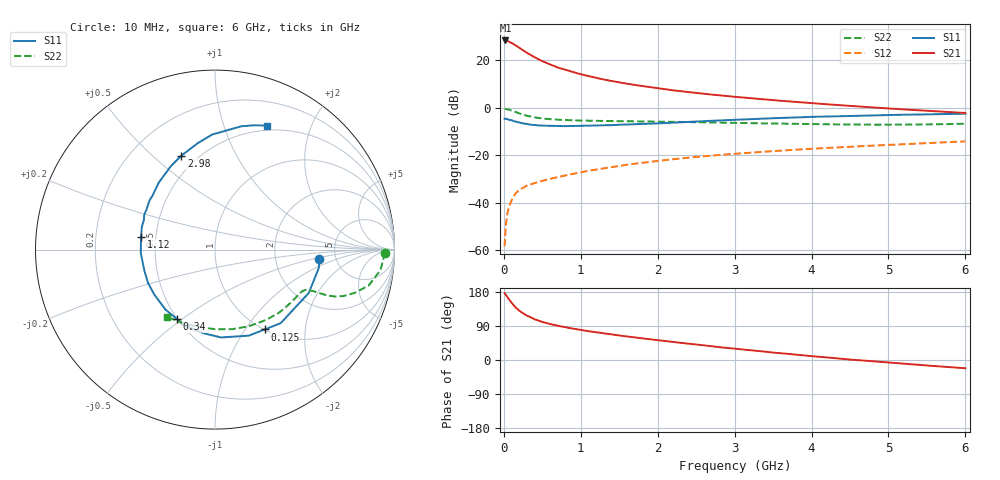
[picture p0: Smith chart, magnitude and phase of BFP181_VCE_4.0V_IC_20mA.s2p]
! Infineon Technologies  Discrete & RF Semiconductors
! BFP181
! VCE = 4.0 V,  IC =  20 mA
! Common Emitter S-Parameters:  Jan 2016
# GHz  S  MA  R  50
!  f  S11  S21  S12  S22
! GHz  MAG  ANG  MAG  ANG  MAG  ANG  MAG  ANG
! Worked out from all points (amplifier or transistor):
!   210 points, 10 MHz to 6 GHz, reference 50 ohm
!   highest |S21| = 28.4 dB at 20 MHz (marker M1)
!   |S21| within 3 dB of that: start of sweep to 197.7 MHz
!   unconditionally stable (mu >= 1): start of sweep to 12.35 MHz; 595.7 MHz to end of sweep
!   at 185 MHz: K = 0.47, MSG = 30.4 dB, |S12| = -35.1 dB
!   at 1.52 GHz: K = 1.32, MAG = 14.1 dB, |S12| = -24.5 dB
!   at 6 GHz: K = 1.05, MAG = 4.6 dB, |S12| = -14.2 dB
!   S11 on the Smith chart (normalised r, x): 10 MHz: 3.70, -0.59; 125 MHz: 1.01, -1.23; 340 MHz: 0.50, -0.48; 1.12 GHz: 0.41, +0.07; 2.98 GHz: 0.41, +0.62; 6 GHz: 0.45, +1.40
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0.01  0.5839 -5.2  26.26 176.6  0.0012 73.1  0.9461 -1.0
0.02  0.5873 -10.2  26.29 174.0  0.0024 87.2  0.9414 -2.6
0.05  0.5754 -24.9  25.63 164.7  0.0064 81.7  0.9284 -7.2
0.1  0.5495 -48.3  23.36 151.1  0.0111 66.6  0.879 -13.2
0.125  0.524 -58.1  22.02 145.5  0.0132 64.1  0.8465 -15.1
0.165  0.503 -73.6  20.14 136.7  0.0163 61.3  0.7986 -18.0
0.2  0.4907 -86.0  18.51 130.0  0.0184 59.4  0.7608 -19.9
0.24  0.4715 -96.6  16.67 124.3  0.02 57.0  0.7232 -21.2
0.3  0.4558 -111.3  14.43 117.0  0.0228 54.5  0.6771 -22.2
0.34  0.4414 -118.4  13.27 113.6  0.024 54.0  0.6561 -22.4
0.4  0.4334 -129.6  11.63 107.3  0.0257 53.3  0.6246 -22.7
0.5  0.4207 -143.6  9.601 100.4  0.0287 52.8  0.5935 -22.9
0.6  0.4166 -153.7  8.221 95.0  0.0315 53.7  0.5731 -23.3
0.8  0.4094 -170.9  6.295 86.2  0.0374 54.6  0.5499 -24.2
1.02  0.4143 175.6  5.002 78.6  0.0439 56.1  0.5362 -26.1
1.12  0.4181 170.1  4.579 75.5  0.0474 56.1  0.5319 -27.1
2.02  0.4699 135.4  2.546 51.9  0.076 54.0  0.5083 -39.3
2.98  0.5553 109.8  1.715 30.2  0.1059 48.0  0.48 -55.9
3.1  0.5645 107.2  1.648 28.0  0.1095 47.1  0.4757 -58.3
4.1  0.6466 89.8  1.217 8.5  0.1391 39.4  0.4504 -79.8
5.1  0.7073 76.8  0.943 -8.2  0.1674 31.7  0.4395 -103.6
6  0.7487 67.4  0.776 -21.8  0.1947 24.0  0.4601 -125.2
